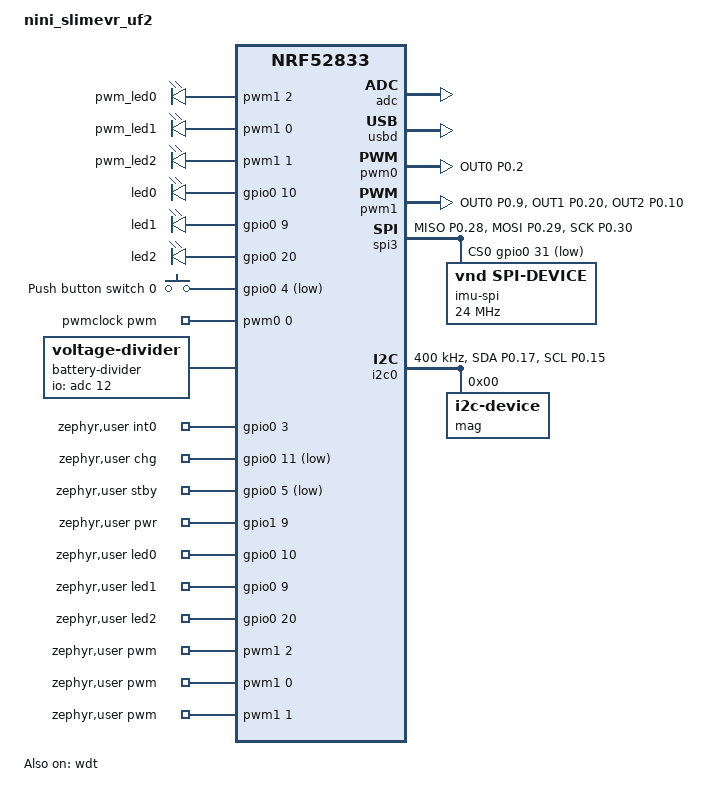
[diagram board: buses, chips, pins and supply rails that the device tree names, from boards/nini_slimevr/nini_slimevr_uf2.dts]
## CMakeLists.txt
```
#
# Copyright (c) 2023 Nordic Semiconductor
#
# SPDX-License-Identifier: LicenseRef-Nordic-5-Clause
#
cmake_minimum_required(VERSION 3.20.0)

# Configure VERSION from repository tags, or a deterministic development fallback.
find_package(Git)

if(GIT_EXECUTABLE)
  execute_process(
    COMMAND ${GIT_EXECUTABLE} branch --show-current
    WORKING_DIRECTORY ${CMAKE_SOURCE_DIR}
    OUTPUT_VARIABLE GIT_BRANCH
    )
  execute_process(
    COMMAND ${GIT_EXECUTABLE} describe --dirty --tags --long --match [0-9]*.[0-9]*.[0-9]*
    WORKING_DIRECTORY ${CMAKE_SOURCE_DIR}
    OUTPUT_VARIABLE GIT_VERSION
    RESULT_VARIABLE GIT_VERSION_RESULT
    OUTPUT_STRIP_TRAILING_WHITESPACE
    ERROR_QUIET
    )
  # Prefer a https URL for display (falls back to ssh/origin.url)
  execute_process(
    COMMAND ${GIT_EXECUTABLE} config --get remote.origin.url
    WORKING_DIRECTORY ${CMAKE_SOURCE_DIR}
    OUTPUT_VARIABLE GIT_REPO_URL_SSH
    )
  execute_process(
    COMMAND ${GIT_EXECUTABLE} config --get remote.origin.https.url
    WORKING_DIRECTORY ${CMAKE_SOURCE_DIR}
    OUTPUT_VARIABLE GIT_REPO_URL_HTTPS
    )
  execute_process(
    COMMAND ${GIT_EXECUTABLE} log -1 --pretty=%an
    WORKING_DIRECTORY ${CMAKE_SOURCE_DIR}
    OUTPUT_VARIABLE GIT_AUTHOR
    )
endif()

if(GIT_BRANCH STREQUAL "")
  set(GIT_BRANCH unknown)
  message(WARNING "Unknown Git Branch")
endif()

# Choose URL: origin.https.url > origin.url
if(NOT GIT_REPO_URL_HTTPS STREQUAL "")
  set(GIT_REPO_URL ${GIT_REPO_URL_HTTPS})
else()
  set(GIT_REPO_URL ${GIT_REPO_URL_SSH})
endif()

# Normalize GitHub SSH URLs to HTTPS for display in firmware info
if(GIT_REPO_URL MATCHES "^git@github\\.com:(.+)$")
  set(GIT_REPO_URL "https://github.com/${CMAKE_MATCH_1}")
elseif(GIT_REPO_URL MATCHES "^ssh://git@github\\.com/(.+)$")
  set(GIT_REPO_URL "https://github.com/${CMAKE_MATCH_1}")
endif()
string(REGEX REPLACE "\\.git$" "" GIT_REPO_URL "${GIT_REPO_URL}")

if(GIT_REPO_URL STREQUAL "")
  set(GIT_REPO_URL unknown)
  message(WARNING "Unknown Git Repo URL")
endif()

if(GIT_AUTHOR STREQUAL "")
  set(GIT_AUTHOR unknown)
  message(WARNING "Unknown Git Author")
endif()

string(STRIP ${GIT_BRANCH} GIT_BRANCH)
string(STRIP ${GIT_REPO_URL} GIT_REPO_URL)
string(STRIP ${GIT_AUTHOR} GIT_AUTHOR)

if(GIT_VERSION_RESULT STREQUAL "0" AND
   GIT_VERSION MATCHES "^([0-9]+)\\.([0-9]+)\\.([0-9]+)-([0-9]+)-g[0-9a-f]+(-dirty)?$")
  set(GIT_MAJOR ${CMAKE_MATCH_1})
  set(GIT_MINOR ${CMAKE_MATCH_2})
  set(GIT_PATCH ${CMAKE_MATCH_3})
  set(GIT_TWEAK ${CMAKE_MATCH_4})
  configure_file(${CMAKE_SOURCE_DIR}/VERSION_SRC ${CMAKE_SOURCE_DIR}/VERSION @ONLY)
else()
  # VERSION is generated; never reuse stale release numbers from another branch.
  # Zephyr supplies commit provenance separately through APP_BUILD_VERSION.
  set(GIT_MAJOR 0)
  set(GIT_MINOR 0)
  set(GIT_PATCH 0)
  set(GIT_TWEAK 0)
  configure_file(${CMAKE_SOURCE_DIR}/VERSION_SRC ${CMAKE_SOURCE_DIR}/VERSION @ONLY)
  message(STATUS "No Git release version available; using development version 0.0.0")
endif()

# Pass metadata to C compilation units
add_compile_definitions(
  FW_GIT_BRANCH="${GIT_BRANCH}"
  FW_GIT_REPO_URL="${GIT_REPO_URL}"
  FW_GIT_AUTHOR="${GIT_AUTHOR}"
)

# Zephyr
find_package(Zephyr REQUIRED HINTS $ENV{ZEPHYR_BASE})
project(NONE)

find_package(Python3 QUIET COMPONENTS Interpreter)

if(NOT Python3_Interpreter_FOUND)
  find_program(PYTHON_EXECUTABLE NAMES python3 python REQUIRED)
  set(Python3_EXECUTABLE ${PYTHON_EXECUTABLE})
endif()

set(SOFTDEVICE_HEX_52840 ${CMAKE_SOURCE_DIR}/softdevice/s140_nrf52_7.3.0_softdevice.hex)
set(UF2_FAMILY_ID_52840 0xADA52840)

if(WITH_SOFTDEVICE)
  if(CONFIG_SOC_NRF52840)
    set(sd_softdevice_hex ${SOFTDEVICE_HEX_52840})
    set(sd_uf2_family_id ${UF2_FAMILY_ID_52840})
  else()
    message(FATAL_ERROR "WITH_SOFTDEVICE is currently only supported on nRF52840 targets")
  endif()

  if(DEFINED sd_softdevice_hex)
    if(NOT EXISTS ${sd_softdevice_hex})
      message(FATAL_ERROR "SoftDevice hex not found: ${sd_softdevice_hex}")
    endif()

    set(sd_merged_hex ${CMAKE_BINARY_DIR}/zephyr/zephyr_sd.hex)
    set(sd_merged_uf2 ${CMAKE_BINARY_DIR}/zephyr/zephyr_sd.uf2)

    add_custom_command(
      OUTPUT ${sd_merged_hex} ${sd_merged_uf2}
      COMMAND ${Python3_EXECUTABLE} ${ZEPHYR_BASE}/scripts/build/mergehex.py --overlap=replace -o ${sd_merged_hex} ${sd_softdevice_hex} ${CMAKE_BINARY_DIR}/zephyr/zephyr.hex
      COMMAND ${Python3_EXECUTABLE} ${ZEPHYR_BASE}/scripts/build/uf2conv.py ${sd_merged_hex} -c -f ${sd_uf2_family_id} -o ${sd_merged_uf2}
      DEPENDS ${sd_softdevice_hex} ${CMAKE_BINARY_DIR}/zephyr/zephyr.hex
      VERBATIM
    )

    add_custom_target(sd_merged_uf2 ALL DEPENDS ${sd_merged_hex} ${sd_merged_uf2})
  endif()
endif()

# NORDIC SDK APP START
FILE(GLOB_RECURSE app_sources src/*.c)
if(NOT CONFIG_CONNECTION_OVER_HID)
  list(FILTER app_sources EXCLUDE REGEX ".*/hid\\.c$")
endif()
if(NOT CONFIG_TDMA_DIAGNOSTICS)
  list(FILTER app_sources EXCLUDE REGEX ".*/radio_capture\\.c$")
endif()
if(NOT CONFIG_LED_DEBUG)
  list(FILTER app_sources EXCLUDE REGEX ".*/led_debug\\.c$")
endif()
if(NOT CONFIG_CUSTOMER_INFO OR NOT CONFIG_SOC_SERIES_NRF52)
  list(FILTER app_sources EXCLUDE REGEX ".*/customer_info(_parser)?\\.c$")
endif()
if(NOT CONFIG_CONNECTION_RAW_COLLECTION)
  list(FILTER app_sources EXCLUDE REGEX ".*/sensor/raw_collection\\.c$")
endif()
if(NOT CONFIG_SENSOR_USE_MAGNETOMETER)
  list(FILTER app_sources EXCLUDE REGEX ".*/sensor/scan_ext\\.c$")
  list(FILTER app_sources EXCLUDE REGEX ".*/sensor/calibration/(online_mag|mag_fit|magneto)\\.c$")
endif()
list(FILTER app_sources EXCLUDE REGEX ".*/sensor/imu/.*\\.c$")
list(FILTER app_sources EXCLUDE REGEX ".*/sensor/mag/.*\\.c$")
target_sources(app PRIVATE ${app_sources})

# IMU drivers
if(CONFIG_SENSOR_DRV_ICM42688)
  target_sources(app PRIVATE src/sensor/imu/ICM42688.c)
endif()
if(CONFIG_SENSOR_DRV_ICM42686)
  target_sources(app PRIVATE src/sensor/imu/ICM42686.c)
endif()
if(CONFIG_SENSOR_DRV_ICM40608)
  target_sources(app PRIVATE src/sensor/imu/ICM40608.c)
endif()
if(CONFIG_SENSOR_DRV_ICM45686)
  target_sources(app PRIVATE src/sensor/imu/ICM45686.c)
endif()
if(CONFIG_SENSOR_DRV_LSM6DSM)
  target_sources(app PRIVATE src/sensor/imu/LSM6DSM.c)
endif()
if(CONFIG_SENSOR_DRV_LSM6DSO)
  target_sources(app PRIVATE src/sensor/imu/LSM6DSO.c)
endif()
# LSM6DSM/DSO vtables call shared helpers defined in LSM6DSV.c (lsm_shutdown,
# lsm_accel_read, …). Compile that TU whenever any LSM6 family DRV is on, even
# if SENSOR_DRV_LSM6DSV=n — keep the Kconfig off so scan/vtable stay trimmed and
# SENSOR_IMU_DRV_COUNT is not inflated.
if(CONFIG_SENSOR_DRV_LSM6DSV OR CONFIG_SENSOR_DRV_LSM6DSM OR CONFIG_SENSOR_DRV_LSM6DSO)
  target_sources(app PRIVATE src/sensor/imu/LSM6DSV.c)
endif()

# Magnetometer drivers
if(CONFIG_SENSOR_USE_MAGNETOMETER)
if(CONFIG_SENSOR_DRV_AK09940)
  target_sources(app PRIVATE src/sensor/mag/AK09940.c)
endif()
if(CONFIG_SENSOR_DRV_BMM150)
  target_sources(app PRIVATE src/sensor/mag/BMM150.c)
endif()
if(CONFIG_SENSOR_DRV_BMM350)
  target_sources(app PRIVATE src/sensor/mag/BMM350.c)
endif()
if(CONFIG_SENSOR_DRV_ICT153XX)
  target_sources(app PRIVATE src/sensor/mag/ICT153xx.c)
endif()
if(CONFIG_SENSOR_DRV_IST8306 OR CONFIG_SENSOR_DRV_IST8308)
  target_sources(app PRIVATE src/sensor/mag/ist83xx.c)
endif()
if(CONFIG_SENSOR_DRV_IST8306)
  target_sources(app PRIVATE src/sensor/mag/IST8306.c)
endif()
if(CONFIG_SENSOR_DRV_IST8308)
  target_sources(app PRIVATE src/sensor/mag/IST8308.c)
endif()
if(CONFIG_SENSOR_DRV_LIS2MDL)
  target_sources(app PRIVATE src/sensor/mag/LIS2MDL.c)
endif()
if(CONFIG_SENSOR_DRV_LIS3MDL)
  target_sources(app PRIVATE src/sensor/mag/LIS3MDL.c)
endif()
if(CONFIG_SENSOR_DRV_MMC5603NJ)
  target_sources(app PRIVATE src/sensor/mag/MMC5603NJ.c)
endif()
if(CONFIG_SENSOR_DRV_MMC5983MA)
  target_sources(app PRIVATE src/sensor/mag/MMC5983MA.c)
endif()
if(CONFIG_SENSOR_DRV_QMC5883L)
  target_sources(app PRIVATE src/sensor/mag/QMC5883L.c)
endif()
if(CONFIG_SENSOR_DRV_QMC5883P)
  target_sources(app PRIVATE src/sensor/mag/QMC5883P.c)
endif()
if(CONFIG_SENSOR_DRV_QMC6309)
  target_sources(app PRIVATE src/sensor/mag/QMC6309.c)
endif()
endif()

set(_slimenrf_imu_drv_count 0)
foreach(_d ICM42688 ICM42686 ICM45686 LSM6DSM LSM6DSO LSM6DSV)
  if(CONFIG_SENSOR_DRV_${_d})
    math(EXPR _slimenrf_imu_drv_count "${_slimenrf_imu_drv_count}+1")
  endif()
endforeach()
if(_slimenrf_imu_drv_count EQUAL 0)
  message(FATAL_ERROR "No IMU SENSOR_DRV_* enabled. Enable at least one, or turn off SENSOR_IMU_DRIVERS_MINIMAL.")
endif()
# NORDIC SDK APP END

FILE(GLOB_RECURSE files vqf-c/src/*.c)
target_sources(app PRIVATE ${files})
set_property(
  SOURCE ${CMAKE_CURRENT_SOURCE_DIR}/vqf-c/src/vqf.c
  APPEND PROPERTY COMPILE_OPTIONS
  -Wno-double-promotion
)
if(CONFIG_SENSOR_VQF_ADAPTIVE_BIAS)
  target_compile_definitions(app PRIVATE VQF_ADAPTIVE_BIAS)
endif()
if(CONFIG_SENSOR_VQF_REST_TRANSITION)
  target_compile_definitions(app PRIVATE VQF_REST_TRANSITION)
endif()
if(CONFIG_SENSOR_VQF_FAST_REST_RECOVERY)
  target_compile_definitions(app PRIVATE VQF_FAST_REST_RECOVERY)
endif()
if(CONFIG_SENSOR_VQF_CYCLE_BIAS_OBSERVATION)
  target_compile_definitions(app PRIVATE VQF_CYCLE_BIAS_OBSERVATION)
endif()
if(CONFIG_SENSOR_VQF_OUTPUT_OBSERVER)
  target_compile_definitions(app PRIVATE VQF_OUTPUT_OBSERVER VQF_OUTPUT_TAU_ACC=3.264f)
endif()

target_include_directories(app PRIVATE src)
target_include_directories(app PRIVATE vqf-c/src)

# Force recompile for updated build timestamp
add_custom_target(touch_util_h ALL
    COMMAND ${CMAKE_COMMAND} -E touch ${CMAKE_SOURCE_DIR}/src/build_defines.h
)
```

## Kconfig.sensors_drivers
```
config SENSOR_IMU_DRIVERS_MINIMAL
	bool "Compile only selected IMU drivers"
	default n
	help
	  When disabled (default), every SENSOR_DRV_* IMU option defaults to y.
	  When enabled, each IMU SENSOR_DRV_* defaults to n; enable the BOM
	  drivers in the board *_defconfig.

config SENSOR_MAG_DRIVERS_MINIMAL
	bool "Compile only selected magnetometer drivers"
	default n
	help
	  Same as SENSOR_IMU_DRIVERS_MINIMAL but for magnetometer drivers.
	  Mag may be entirely disabled (mag-less boards).

menu "IMU drivers"

config SENSOR_DRV_ICM42688
	bool "ICM42688"
	default y if !SENSOR_IMU_DRIVERS_MINIMAL
	default n

config SENSOR_DRV_ICM42686
	bool "ICM42686"
	default y if !SENSOR_IMU_DRIVERS_MINIMAL
	default n

config SENSOR_DRV_ICM40608
	bool "ICM40608"
	default y if !SENSOR_IMU_DRIVERS_MINIMAL
	default n
	help
	  ICM-40608 (DS-000251): ICM-426xx register family but 16-byte FIFO only,
	  +/-16g/+/-2000dps max and no CLKIN. Separate driver, see ICM40608.h.

config SENSOR_DRV_ICM45686
	bool "ICM45686 / ICM45688"
	default y if !SENSOR_IMU_DRIVERS_MINIMAL
	default n

config SENSOR_DRV_LSM6DSM
	bool "LSM6DSM family (DS3 / DSM)"
	default y if !SENSOR_IMU_DRIVERS_MINIMAL
	default n
	help
	  Shares helpers compiled from LSM6DSV.c (CMake pulls that TU in
	  automatically). Enabling this alone does not enable SENSOR_DRV_LSM6DSV
	  scan/vtable slots.

config SENSOR_DRV_LSM6DSO
	bool "LSM6DSO family (DSR / DSO)"
	default y if !SENSOR_IMU_DRIVERS_MINIMAL
	default n
	help
	  Shares helpers compiled from LSM6DSV.c (CMake pulls that TU in
	  automatically). Enabling this alone does not enable SENSOR_DRV_LSM6DSV
	  scan/vtable slots.

config SENSOR_DRV_LSM6DSV
	bool "LSM6DSV family (DSV / ISM330BX)"
	default y if !SENSOR_IMU_DRIVERS_MINIMAL
	default n
	help
	  Also provides shared LSM6 helpers used by LSM6DSM / LSM6DSO drivers.

endmenu

menu "Magnetometer drivers"

config SENSOR_DRV_AK09940
	bool "AK09940"
	default y if !SENSOR_MAG_DRIVERS_MINIMAL
	default n

config SENSOR_DRV_BMM150
	bool "BMM150"
	default y if !SENSOR_MAG_DRIVERS_MINIMAL
	default n

config SENSOR_DRV_BMM350
	bool "BMM350"
	default y if !SENSOR_MAG_DRIVERS_MINIMAL
	default n

config SENSOR_DRV_ICT153XX
	bool "ICT-15312 / ICT-15318"
	default y if !SENSOR_MAG_DRIVERS_MINIMAL
	default n
	help
	  I2C magnetometers, including access through an IMU external I2C proxy.
	  Both require VDD 1.62–1.98 V; ICT-15312 uses 1.2 V bus logic and
	  ICT-15318 uses 1.8 V bus logic.

config SENSOR_DRV_IST8306
	bool "IST8306"
	default y if !SENSOR_MAG_DRIVERS_MINIMAL
	default n

config SENSOR_DRV_IST8308
	bool "IST8308"
	default y if !SENSOR_MAG_DRIVERS_MINIMAL
	default n

config SENSOR_DRV_LIS2MDL
	bool "LIS2MDL / IIS2MDC"
	default y if !SENSOR_MAG_DRIVERS_MINIMAL
	default n

config SENSOR_DRV_LIS3MDL
	bool "LIS3MDL"
	default y if !SENSOR_MAG_DRIVERS_MINIMAL
	default n

config SENSOR_DRV_MMC5603NJ
	bool "MMC5603NJ"
	default y if !SENSOR_MAG_DRIVERS_MINIMAL
	default n

config SENSOR_DRV_MMC5983MA
	bool "MMC5983MA"
	default y if !SENSOR_MAG_DRIVERS_MINIMAL
	default n

config SENSOR_DRV_QMC5883L
	bool "QMC5883L"
	default y if !SENSOR_MAG_DRIVERS_MINIMAL
	default n

config SENSOR_DRV_QMC5883P
	bool "QMC5883P"
	default y if !SENSOR_MAG_DRIVERS_MINIMAL
	default n
	help
	  QMC5883P (QST-PD-B002-22 Rev E): automotive-grade line, new-style QST
	  register interface (akin to QMC6309, NOT register-compatible with
	  QMC5883L). I2C 0x2C, CHIPID 0x80 @ 0x00, 2/8/12/30G ranges, no temp.

config SENSOR_DRV_QMC6309
	bool "QMC6309"
	default y if !SENSOR_MAG_DRIVERS_MINIMAL
	default n

endmenu
```

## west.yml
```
manifest:
  version: "1.2"
  projects:

    # nRF-Connect SDK
    - name: sdk-nrf
      path: nrf
      url: https://github.com/jitingcn/sdk-nrf.git
      revision: ab62f8dfea4f8e8a9eacde53b2b763bd9854e743
      import: true
```

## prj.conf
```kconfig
#CONFIG_NCS_SAMPLES_DEFAULTS
CONFIG_ASSERT=y
CONFIG_ASSERT_NO_COND_INFO=y
CONFIG_ASSERT_NO_MSG_INFO=y
CONFIG_RESET_ON_FATAL_ERROR=y

CONFIG_NCS_APPLICATION_BOOT_BANNER_STRING="SlimeVR-Tracker-nRF"
#CONFIG_NCS_BOOT_BANNER=n
CONFIG_BOOT_BANNER=n

# HEX carries mapped-partition addresses for native UF2 generation.
CONFIG_BUILD_OUTPUT_HEX=y

CONFIG_LTO=y
CONFIG_ISR_TABLES_LOCAL_DECLARATION=y

CONFIG_ESB=y

CONFIG_ENTROPY_GENERATOR=y
CONFIG_HARDWARE_DEVICE_CS_GENERATOR=y
#need to enable for nRF54L
#CONFIG_NRFX_DPPI10=y

CONFIG_ADC=y
CONFIG_ADC_NRFX_SAADC=y
# battery.c owns ADC/GPIO setup; voltage-divider DT nodes supply board metadata.
CONFIG_VOLTAGE_DIVIDER=n
CONFIG_FPU=y

# CMSIS-DSP Configuration for VQF optimization
CONFIG_CMSIS_DSP=y
CONFIG_CMSIS_DSP_FASTMATH=y
CONFIG_CMSIS_DSP_BASICMATH=y
CONFIG_CMSIS_DSP_MATRIX=y
CONFIG_CMSIS_DSP_QUATERNIONMATH=y
CONFIG_CMSIS_DSP_SUPPORT=y
CONFIG_CMSIS_DSP_CONTROLLER=y
CONFIG_DSP=y

CONFIG_I2C=y
CONFIG_SPI=y
CONFIG_PINCTRL=y

CONFIG_NVS=y
CONFIG_NVS_LOOKUP_CACHE=y
CONFIG_NVS_INIT_BAD_MEMORY_REGION=y

CONFIG_POWEROFF=y
CONFIG_REBOOT=y

CONFIG_FLASH=y
CONFIG_FLASH_PAGE_LAYOUT=y
CONFIG_FLASH_MAP=y
CONFIG_USE_DT_CODE_PARTITION=y

CONFIG_SETTINGS=y
CONFIG_SETTINGS_RUNTIME=y
CONFIG_SETTINGS_NONE=y

CONFIG_MPU_ALLOW_FLASH_WRITE=y

CONFIG_RETAINED_MEM=y

CONFIG_USE_SEGGER_RTT=y
CONFIG_LOG=y
#CONFIG_PRINTK=y
CONFIG_LOG_MODE_DEFERRED=y
CONFIG_LOG_SPEED=y
CONFIG_LOG_BACKEND_RTT=y
CONFIG_CBPRINTF_FP_SUPPORT=y
CONFIG_ADC_LOG_LEVEL_OFF=y
CONFIG_LOG_FUNC_NAME_PREFIX_ERR=y
# Absorb multi-line sensor debug bursts without changing their output cadence.
CONFIG_LOG_BUFFER_SIZE=8192
CONFIG_LOG_BACKEND_UART_AUTOSTART=n
CONFIG_LOG_PROCESS_THREAD_SLEEP_MS=25
CONFIG_LOG_PROCESS_THREAD_STACK_SIZE=1024

CONFIG_PWM=y
CONFIG_GPIO=y

CONFIG_CRC=y

# Sensor lifecycle waits (suspend / scan) use k_event instead of busy spins
CONFIG_EVENTS=y

CONFIG_PICOLIBC=y
# CONFIG_NRFX_TIMER1=y

#speed up boot? (use internal rc oscillator)
CONFIG_CLOCK_CONTROL_NRF_K32SRC_RC=y
CONFIG_CLOCK_CONTROL_NRF_K32SRC_20PPM=y

# dont need it
CONFIG_CRYPTO=n

# set timeout for 25ms, sufficient for ~1000 bytes
CONFIG_I2C_NRFX_TRANSFER_TIMEOUT=25

CONFIG_USB_DEVICE_STACK_NEXT=y
CONFIG_USBD_CDC_ACM_CLASS=y
CONFIG_CDC_ACM_SERIAL_INITIALIZE_AT_BOOT=n
CONFIG_SLIMEVR_USB_DEVICE_VID=0x1209
CONFIG_SLIMEVR_USB_DEVICE_PID=0x7692
CONFIG_UART_INTERRUPT_DRIVEN=y

CONFIG_SERIAL=y
CONFIG_CONSOLE=y
CONFIG_RTT_CONSOLE=y
CONFIG_UART_CONSOLE=y
CONFIG_UART_LINE_CTRL=y

CONFIG_LOG=y

CONFIG_LOG_BACKEND_UART=y

CONFIG_CONSOLE_SUBSYS=y

CONFIG_NVS_LOG_LEVEL_WRN=y

CONFIG_SYSTEM_WORKQUEUE_STACK_SIZE=1024
CONFIG_MAIN_STACK_SIZE=2048

CONFIG_THREAD_NAME=y

CONFIG_HEAP_MEM_POOL_SIZE=4096
CONFIG_ISR_STACK_SIZE=2048

CONFIG_PM_DEVICE=y


CONFIG_USE_ACTIVE_TIMEOUT=y

# 100ms switch delay will be obvious to users, so we choose not to use it by default,
# but it can be enabled for testing or specific use cases
CONFIG_SENSOR_USE_LOW_POWER_2=n

# control low power mode
# due to current mag reading is process in sensor loop,
# low power mode will cause mag reading isn't at target odr,
# so currently it should be disabled by default
CONFIG_USE_IMU_TIMEOUT=n
# a very large low power timeout (1h) to prevent it from triggering
CONFIG_SENSOR_LP_TIMEOUT=3600000

# 10 minutes timeout with wake on motion
CONFIG_ACTIVE_TIMEOUT_DELAY=600000

# dynamic low-activity sleep timeout is 90 seconds, repeat wake timeout is 90 seconds by default
CONFIG_ACTIVE_TIMEOUT_IDLE_WAKE_DELAY=90000
CONFIG_DYNAMIC_ACTIVE_TIMEOUT=y
CONFIG_USE_IMU_WAKE_UP=y

# or 6 hours timeout
# CONFIG_USE_IMU_WAKE_UP=n
# CONFIG_ACTIVE_TIMEOUT_DELAY=21600000

CONFIG_USER_EXTRA_ACTIONS=y
CONFIG_DISABLE_SENSOR_GPIOS_ON_SHUTDOWN=y

CONFIG_ESB_MAX_PAYLOAD_LENGTH=72
CONFIG_ESB_TX_FIFO_SIZE=8
CONFIG_ESB_RX_FIFO_SIZE=8
CONFIG_RADIO_RF_CHANNEL=84
CONFIG_RADIO_RETRANSMIT_DELAY=310
CONFIG_CONNECTION_ENABLE_ACK=n
CONFIG_RADIO_TX_POWER=8
# 3 minutes timeout after ping continuous failed
CONFIG_CONNECTION_TIMEOUT_DELAY=180000

CONFIG_SENSOR_USE_6_SIDE_CALIBRATION=y
CONFIG_SENSOR_USE_SENS_CALIBRATION=y
CONFIG_SENSOR_SENS_REV=5

CONFIG_SENSOR_USE_TCAL=y

# Boot calibration is disabled by default
# CONFIG_SENSOR_USE_BOOT_CALIBRATION=y

# Range statistics tracking (disabled by default to optimize performance)
# CONFIG_SENSOR_RANGE_STATS=y

# Gyro/accel ODR. Gyro OVERSAMPLING = Δq INT_merge factor.
# Example: GYRO_ODR=1600 + GYRO_OVERSAMPLING=4 → 400 Hz fusion gyro steps.
# icm45 ~1600, dsv ~1920
CONFIG_SENSOR_GYRO_ODR=400
# fusion rate at ~400Hz
CONFIG_SENSOR_GYRO_OVERSAMPLING=1
CONFIG_SENSOR_MAG_ODR=100

# VQF experimental features
# CONFIG_VQF_ADAPTIVE_TAU_ACC=y

# Watchdog Configuration
CONFIG_WATCHDOG=y
CONFIG_WDT_NRFX=y
CONFIG_TASK_WDT=y
CONFIG_TASK_WDT_CHANNELS=9
CONFIG_TASK_WDT_HW_FALLBACK=y
CONFIG_TASK_WDT_HW_FALLBACK_DELAY=5000

# enable tdma on board which don't have lfxo, it can use lf clock synthesized by hf clock,
# but it will increase a lot of power consumption, so if you want to use it, you can enable below config,
# or define it in board level Kconfig file.

# CONFIG_CLOCK_USE_LFXO=n
CONFIG_CONNECTION_TDMA=y

# Enable VQF benchmark mode for performance testing (disabled by default)
# CONFIG_VQF_BENCH=y
```

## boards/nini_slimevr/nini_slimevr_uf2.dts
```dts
// Copyright (c) 2024 Nordic Semiconductor ASA
// SPDX-License-Identifier: Apache-2.0

// 板级设备树：nini_slimevr_uf2 ——【追踪器 tracker】（nRF52833 QDAA）
// 由我们注入的 nini 板级文件（上游 jitingcn 仓不含）。
// 与旧板 nini_slimevr_mag_uf2 的硬件差异：
//   ① 三颗 LED 改为【共阴】接法（高电平点亮），新增红灯：
//      红 P0.10 / 绿 P0.09 / 蓝 P0.20（上板实测订正史：初版红绿写反→换 LED 红蓝对调→再换 LED 红绿对调），全部 GPIO_ACTIVE_HIGH、PWM_POLARITY_NORMAL，
//      不再用 GPIO_OPEN_DRAIN 与 nordic,invert；
//   ② P0.18 接 nRF 的 nRESET（UICR gpio-as-nreset），不再是普通 GPIO/按键；
//   ③ 板载 32.768kHz 晶振（LFXO 走应用 Kconfig CLOCK_USE_LFXO，默认开，无需 dts 配置）；
//   ④ 磁力计为 QMC5883P（I2C 0x2C，驱动另行注入），dts 侧仍为通用 i2c-device 占位。
// 其余引脚（SW0/INT/CHG/STDBY/PWR/SPI3/I2C0/IMUCLK）与旧板一致。

/dts-v1/;
#include <nordic/nrf52833_qdaa.dtsi>
#include <zephyr/dt-bindings/gpio/gpio.h>
#include <zephyr/dt-bindings/gpio/nordic-nrf-gpio.h>
#include <zephyr/dt-bindings/pinctrl/nrf-pinctrl.h>


&pinctrl {
	spi3_default: spi3_default {
		group1 {
			psels = <NRF_PSEL(SPIM_MISO, 0, 28)>,
					<NRF_PSEL(SPIM_MOSI, 0, 29)>,
					<NRF_PSEL(SPIM_SCK, 0, 30)>;
		};
	};

	spi3_sleep: spi3_sleep {
		group1 {
			psels = <NRF_PSEL(SPIM_MISO, 0, 28)>,
					<NRF_PSEL(SPIM_MOSI, 0, 29)>,
					<NRF_PSEL(SPIM_SCK, 0, 30)>;
			low-power-enable;
		};
	};

	i2c0_default: i2c0_default {
		group1 {
			psels = <NRF_PSEL(TWIM_SDA, 0, 17)>,
					<NRF_PSEL(TWIM_SCL, 0, 15)>;
			bias-disable;
		};
	};

	i2c0_sleep: i2c0_sleep {
		group1 {
			psels = <NRF_PSEL(TWIM_SDA, 0, 17)>,
					<NRF_PSEL(TWIM_SCL, 0, 15)>;
			bias-disable;
			low-power-enable;
		};
	};

	/* IMUCLK：P0.02 输出 32768Hz（pwmclock 节点，PWM0 ch0）。默认关闭，
	 * 由固件 pwmclock 门控按需开启（详见计划书 §7.4）。 */
	pwm0_default: pwm0_default {
		group1 {
			psels = <NRF_PSEL(PWM_OUT0, 0, 2)>;
			nordic,drive-mode = <NRF_DRIVE_D0S1>;
		};
	};

	pwm0_sleep: pwm0_sleep {
		group1 {
			psels = <NRF_PIN_DISCONNECTED>;
			low-power-enable;
		};
	};

	/* 三色 LED（共阴，高电平点亮）：红 P0.10(ch2) / 蓝 P0.20(ch1) / 绿 P0.09(ch0)。
	 * 共阴接法：输出高电平点亮 → 不用 nordic,invert；点亮电平用高驱动 S0H1。 */
	pwm1_default: pwm1_default {
		group1 {
			psels = <NRF_PSEL(PWM_OUT0, 0, 9)>,
					<NRF_PSEL(PWM_OUT1, 0, 20)>,
					<NRF_PSEL(PWM_OUT2, 0, 10)>;
			nordic,drive-mode = <NRF_DRIVE_S0H1>;
		};
	};

	pwm1_sleep: pwm1_sleep {
		group1 {
			psels = <NRF_PSEL(PWM_OUT0, 0, 9)>,
					<NRF_PSEL(PWM_OUT1, 0, 20)>,
					<NRF_PSEL(PWM_OUT2, 0, 10)>;
			low-power-enable;
		};
	};
};


/ {
	model = "nini_slimevr_uf2";
	compatible = "nini_slimevr_uf2";

	chosen {
		zephyr,sram = &sram0;
		zephyr,flash = &flash0;
		zephyr,console = &cdc_acm_uart0;
		zephyr,shell-uart = &cdc_acm_uart0;
	};

	pwmleds {
		compatible = "pwm-leds";
		/* 色序对齐 led.c 三色约定：pwm-led0=红 / pwm-led1=绿 / pwm-led2=蓝。
		 * 共阴高电平点亮 → PWM_POLARITY_NORMAL（旧板为 INVERTED）。 */
		pwm_led0: pwm_led_0 {
			pwms = <&pwm1 2 PWM_MSEC(1) PWM_POLARITY_NORMAL>; /* 红灯=P0.10（实测订正：换 LED 后红绿对调）*/
		};
		pwm_led1: pwm_led_1 {
			pwms = <&pwm1 0 PWM_MSEC(1) PWM_POLARITY_NORMAL>; /* 绿灯=P0.09（实测订正）*/
		};
		pwm_led2: pwm_led_2 {
			pwms = <&pwm1 1 PWM_MSEC(1) PWM_POLARITY_NORMAL>; /* 蓝灯=P0.20（实测订正）*/
		};
	};

	leds {
		compatible = "gpio-leds";
		/* 色序：led0=红 P0.10 / led1=绿 P0.09 / led2=蓝 P0.20（led.h 三色约定）。
		 * 共阴接法：GPIO_ACTIVE_HIGH、不用 GPIO_OPEN_DRAIN（旧板共阳为
		 * ACTIVE_LOW|OPEN_DRAIN）。 */
		led0: led_0 {
			gpios = <&gpio0 10 GPIO_ACTIVE_HIGH>; /* 红（实测订正：换 LED 后红绿对调）*/
		};
		led1: led_1 {
			gpios = <&gpio0 9 GPIO_ACTIVE_HIGH>; /* 绿（实测订正）*/
		};
		led2: led_2 {
			gpios = <&gpio0 20 GPIO_ACTIVE_HIGH>; /* 蓝（实测订正）*/
		};
	};

	buttons {
		compatible = "gpio-keys";
		button0: button_0 {
			gpios = <&gpio0 4 (GPIO_PULL_UP | GPIO_ACTIVE_LOW)>;
			label = "Push button switch 0";
		};
	};

	aliases {
		sw0 = &button0;
		led0 = &led0;
		led1 = &led1;
		led2 = &led2;
		pwm-led0 = &pwm_led0;
		pwm-led1 = &pwm_led1;
		pwm-led2 = &pwm_led2;
		watchdog0 = &wdt;
	};

	pwmclock: pwmclock {
		compatible = "pwm-clock";
		#clock-cells = <1>;
		pwms = <&pwm0 0 PWM_HZ(32768) PWM_POLARITY_NORMAL>;
	};

	battery-divider {
		compatible = "voltage-divider";
		status = "okay";
		io-channels = <&adc 12>; /* Measure VDDHDIV5 */
		output-ohms = <1>;
		full-ohms = <5>;
	};

	zephyr,user {
		int0-gpios = <&gpio0 3 0>;
		chg-gpios = <&gpio0 11 (GPIO_ACTIVE_LOW | GPIO_PULL_UP)>;
		stby-gpios = <&gpio0 5 (GPIO_ACTIVE_LOW | GPIO_PULL_UP)>;
		/* LDO-EN：P1.09，高电平开（关机由 power.c 拉低断电）。
		 * ⚠️ 只允许写 pwr-gpios——绝不能写成 ldo-gpios（那是 nRF 稳压器档位，
		 * sys_system_off 会把它拉高，方向正好相反）。 */
		pwr-gpios = <&gpio1 9 (GPIO_ACTIVE_HIGH | NRF_GPIO_DRIVE_H0H1)>;
		/* 上游 LED 所有权/令牌框架的描述符：三通道 PWM（红=pwm1 ch2、绿=ch0、蓝=ch1）。
		 * 传输方式必须显式唯一；此处用 pwms，且条目数必须等于通道数（led_hw.c 断言）。 */
		led-capability = "tri-discrete";
		pwms = <&pwm1 2 PWM_MSEC(1) PWM_POLARITY_NORMAL>,
		       <&pwm1 0 PWM_MSEC(1) PWM_POLARITY_NORMAL>,
		       <&pwm1 1 PWM_MSEC(1) PWM_POLARITY_NORMAL>;
		led-channel-colors = <1 2 3>; /* 红、绿、蓝 */
		led-channel-weights = <10000 10000 10000>;
		led-primary-channel = <1>; /* 绿色为主通道 */
		led0-gpios = <&gpio0 10 GPIO_ACTIVE_HIGH>;
		led1-gpios = <&gpio0 9 GPIO_ACTIVE_HIGH>;
		led2-gpios = <&gpio0 20 GPIO_ACTIVE_HIGH>;
		/* clk-gpios = <&gpio0 2 GPIO_OPEN_DRAIN>; */
	};
};

&reg1 {
	regulator-initial-mode = <NRF5X_REG_MODE_DCDC>;
};

&adc {
	status = "okay";
};

&gpiote {
	status = "okay";
};

&gpio0 {
    status = "okay";
};

&gpio1 {
    status = "okay";
};

zephyr_udc0: &usbd {
	compatible = "nordic,nrf-usbd";
	status = "okay";
	cdc_acm_uart0: cdc_acm_uart0 {
		compatible = "zephyr,cdc-acm-uart";
	};
};

&nfct {
	status = "disabled";
};

&uicr {
	nfct-pins-as-gpios;
	/* P0.18 接 nRESET（板上硬件复位键/测试点），让出 GPIO 功能。
	 * DFU 双击进 bootloader 用 SW0（P0.04），见固件侧配置。 */
	gpio-as-nreset;
};

&wdt {
	status = "okay";
};

&pwm0 {
	status = "okay";
	pinctrl-0 = <&pwm0_default>;
	pinctrl-1 = <&pwm0_sleep>;
	pinctrl-names = "default", "sleep";
};

&pwm1 {
	status = "okay";
	pinctrl-0 = <&pwm1_default>;
	pinctrl-1 = <&pwm1_sleep>;
	pinctrl-names = "default", "sleep";
};

&spi3 {
	status = "okay";
	compatible = "nordic,nrf-spim";
	pinctrl-0 = <&spi3_default>;
	pinctrl-1 = <&spi3_sleep>;
	pinctrl-names = "default", "sleep";
	max-frequency = <DT_FREQ_M(24)>;
	cs-gpios = <&gpio0 31 GPIO_ACTIVE_LOW>;

	imu_spi: imu_spi@0 {
		compatible = "vnd,spi-device";
		spi-max-frequency = <DT_FREQ_M(24)>;
		label = "imu-spi";
		reg = <0>;
	};
};

&i2c0 {
	compatible = "nordic,nrf-twim";
	status = "okay";
	zephyr,concat-buf-size = <1023>;
	zephyr,flash-buf-max-size = <1023>;
	clock-frequency = <I2C_BITRATE_FAST>;
	pinctrl-0 = <&i2c0_default>;
	pinctrl-1 = <&i2c0_sleep>;
	pinctrl-names = "default", "sleep";

	mag: mag@0 {
		compatible = "i2c-device";
		label = "mag";
		reg = <0>;
	};
};
```

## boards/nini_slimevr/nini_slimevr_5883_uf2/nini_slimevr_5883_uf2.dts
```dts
// Copyright (c) 2024 Nordic Semiconductor ASA
// SPDX-License-Identifier: Apache-2.0

// 板级设备树：nini_slimevr_5883_uf2 ——【追踪器 tracker】（nRF52833 QDAA）
// 由我们注入的 nini 板级文件（上游 jitingcn 仓不含）。
// 与旧板 nini_slimevr_mag_uf2 的硬件差异：
//   ① 三颗 LED 改为【共阴】接法（高电平点亮），新增红灯：
//      红 P0.10 / 绿 P0.20 / 蓝 P0.09，全部 GPIO_ACTIVE_HIGH、PWM_POLARITY_NORMAL，
//      不再用 GPIO_OPEN_DRAIN 与 nordic,invert；
//   ② P0.18 接 nRF 的 nRESET（UICR gpio-as-nreset），不再是普通 GPIO/按键；
//   ③ 板载 32.768kHz 晶振（LFXO 走应用 Kconfig CLOCK_USE_LFXO，默认开，无需 dts 配置）；
//   ④ 磁力计为 QMC5883P（I2C 0x2C，驱动另行注入），dts 侧仍为通用 i2c-device 占位。
// 其余引脚（SW0/INT/CHG/STDBY/PWR/SPI3/I2C0/IMUCLK）与旧板一致。

/dts-v1/;
#include <nordic/nrf52833_qdaa.dtsi>
#include <zephyr/dt-bindings/gpio/gpio.h>
#include <zephyr/dt-bindings/gpio/nordic-nrf-gpio.h>
#include <zephyr/dt-bindings/pinctrl/nrf-pinctrl.h>


&pinctrl {
	spi3_default: spi3_default {
		group1 {
			psels = <NRF_PSEL(SPIM_MISO, 0, 28)>,
					<NRF_PSEL(SPIM_MOSI, 0, 29)>,
					<NRF_PSEL(SPIM_SCK, 0, 30)>;
		};
	};

	spi3_sleep: spi3_sleep {
		group1 {
			psels = <NRF_PSEL(SPIM_MISO, 0, 28)>,
					<NRF_PSEL(SPIM_MOSI, 0, 29)>,
					<NRF_PSEL(SPIM_SCK, 0, 30)>;
			low-power-enable;
		};
	};

	i2c0_default: i2c0_default {
		group1 {
			psels = <NRF_PSEL(TWIM_SDA, 0, 17)>,
					<NRF_PSEL(TWIM_SCL, 0, 15)>;
			bias-disable;
		};
	};

	i2c0_sleep: i2c0_sleep {
		group1 {
			psels = <NRF_PSEL(TWIM_SDA, 0, 17)>,
					<NRF_PSEL(TWIM_SCL, 0, 15)>;
			bias-disable;
			low-power-enable;
		};
	};

	/* IMUCLK：P0.02 输出 32768Hz（pwmclock 节点，PWM0 ch0）。默认关闭，
	 * 由固件 pwmclock 门控按需开启（详见计划书 §7.4）。 */
	pwm0_default: pwm0_default {
		group1 {
			psels = <NRF_PSEL(PWM_OUT0, 0, 2)>;
			nordic,drive-mode = <NRF_DRIVE_D0S1>;
		};
	};

	pwm0_sleep: pwm0_sleep {
		group1 {
			psels = <NRF_PIN_DISCONNECTED>;
			low-power-enable;
		};
	};

	/* 三色 LED（共阴，高电平点亮）：蓝 P0.09(ch0) / 绿 P0.20(ch1) / 红 P0.10(ch2)。
	 * 共阴接法：输出高电平点亮 → 不用 nordic,invert；点亮电平用高驱动 S0H1。 */
	pwm1_default: pwm1_default {
		group1 {
			psels = <NRF_PSEL(PWM_OUT0, 0, 9)>,
					<NRF_PSEL(PWM_OUT1, 0, 20)>,
					<NRF_PSEL(PWM_OUT2, 0, 10)>;
			nordic,drive-mode = <NRF_DRIVE_S0H1>;
		};
	};

	pwm1_sleep: pwm1_sleep {
		group1 {
			psels = <NRF_PSEL(PWM_OUT0, 0, 9)>,
					<NRF_PSEL(PWM_OUT1, 0, 20)>,
					<NRF_PSEL(PWM_OUT2, 0, 10)>;
			low-power-enable;
		};
	};
};


/ {
	model = "nini_slimevr_5883_uf2";
	compatible = "nini_slimevr_5883_uf2";

	chosen {
		zephyr,sram = &sram0;
		zephyr,flash = &flash0;
		zephyr,console = &cdc_acm_uart0;
		zephyr,shell-uart = &cdc_acm_uart0;
	};

	pwmleds {
		compatible = "pwm-leds";
		/* 色序对齐 led.c 三色约定：pwm-led0=红 / pwm-led1=绿 / pwm-led2=蓝。
		 * 共阴高电平点亮 → PWM_POLARITY_NORMAL（旧板为 INVERTED）。 */
		pwm_led0: pwm_led_0 {
			pwms = <&pwm1 2 PWM_MSEC(1) PWM_POLARITY_NORMAL>;
		};
		pwm_led1: pwm_led_1 {
			pwms = <&pwm1 1 PWM_MSEC(1) PWM_POLARITY_NORMAL>;
		};
		pwm_led2: pwm_led_2 {
			pwms = <&pwm1 0 PWM_MSEC(1) PWM_POLARITY_NORMAL>;
		};
	};

	leds {
		compatible = "gpio-leds";
		/* 色序：led0=红 P0.10 / led1=绿 P0.20 / led2=蓝 P0.09（led.h 三色约定）。
		 * 共阴接法：GPIO_ACTIVE_HIGH、不用 GPIO_OPEN_DRAIN（旧板共阳为
		 * ACTIVE_LOW|OPEN_DRAIN）。 */
		led0: led_0 {
			gpios = <&gpio0 10 GPIO_ACTIVE_HIGH>;
		};
		led1: led_1 {
			gpios = <&gpio0 20 GPIO_ACTIVE_HIGH>;
		};
		led2: led_2 {
			gpios = <&gpio0 9 GPIO_ACTIVE_HIGH>;
		};
	};

	buttons {
		compatible = "gpio-keys";
		button0: button_0 {
			gpios = <&gpio0 4 (GPIO_PULL_UP | GPIO_ACTIVE_LOW)>;
			label = "Push button switch 0";
		};
	};

	aliases {
		sw0 = &button0;
		led0 = &led0;
		led1 = &led1;
		led2 = &led2;
		pwm-led0 = &pwm_led0;
		pwm-led1 = &pwm_led1;
		pwm-led2 = &pwm_led2;
		watchdog0 = &wdt;
	};

	pwmclock: pwmclock {
		compatible = "pwm-clock";
		#clock-cells = <1>;
		pwms = <&pwm0 0 PWM_HZ(32768) PWM_POLARITY_NORMAL>;
	};

	battery-divider {
		compatible = "voltage-divider";
		status = "okay";
		io-channels = <&adc 12>; /* Measure VDDHDIV5 */
		output-ohms = <1>;
		full-ohms = <5>;
	};

	zephyr,user {
		int0-gpios = <&gpio0 3 0>;
		chg-gpios = <&gpio0 11 (GPIO_ACTIVE_LOW | GPIO_PULL_UP)>;
		stby-gpios = <&gpio0 5 (GPIO_ACTIVE_LOW | GPIO_PULL_UP)>;
		/* LDO-EN：P1.09，高电平开（关机由 power.c 拉低断电）。
		 * ⚠️ 只允许写 pwr-gpios——绝不能写成 ldo-gpios（那是 nRF 稳压器档位，
		 * sys_system_off 会把它拉高，方向正好相反）。 */
		pwr-gpios = <&gpio1 9 (GPIO_ACTIVE_HIGH | NRF_GPIO_DRIVE_H0H1)>;
		led0-gpios = <&gpio0 10 GPIO_ACTIVE_HIGH>;
		led1-gpios = <&gpio0 20 GPIO_ACTIVE_HIGH>;
		led2-gpios = <&gpio0 9 GPIO_ACTIVE_HIGH>;
		/* clk-gpios = <&gpio0 2 GPIO_OPEN_DRAIN>; */
	};
};

&reg1 {
	regulator-initial-mode = <NRF5X_REG_MODE_DCDC>;
};

&adc {
	status = "okay";
};

&gpiote {
	status = "okay";
};

&gpio0 {
    status = "okay";
};

&gpio1 {
    status = "okay";
};

zephyr_udc0: &usbd {
	compatible = "nordic,nrf-usbd";
	status = "okay";
	cdc_acm_uart0: cdc_acm_uart0 {
		compatible = "zephyr,cdc-acm-uart";
	};
};

&nfct {
	status = "disabled";
};

&uicr {
	nfct-pins-as-gpios;
	/* P0.18 接 nRESET（板上硬件复位键/测试点），让出 GPIO 功能。
	 * DFU 双击进 bootloader 用 SW0（P0.04），见固件侧配置。 */
	gpio-as-nreset;
};

&wdt {
	status = "okay";
};

&pwm0 {
	status = "okay";
	pinctrl-0 = <&pwm0_default>;
	pinctrl-1 = <&pwm0_sleep>;
	pinctrl-names = "default", "sleep";
};

&pwm1 {
	status = "okay";
	pinctrl-0 = <&pwm1_default>;
	pinctrl-1 = <&pwm1_sleep>;
	pinctrl-names = "default", "sleep";
};

&spi3 {
	status = "okay";
	compatible = "nordic,nrf-spim";
	pinctrl-0 = <&spi3_default>;
	pinctrl-1 = <&spi3_sleep>;
	pinctrl-names = "default", "sleep";
	max-frequency = <DT_FREQ_M(24)>;
	cs-gpios = <&gpio0 31 GPIO_ACTIVE_LOW>;

	imu_spi: imu_spi@0 {
		compatible = "vnd,spi-device";
		spi-max-frequency = <DT_FREQ_M(24)>;
		label = "imu-spi";
		reg = <0>;
	};
};

&i2c0 {
	compatible = "nordic,nrf-twim";
	status = "okay";
	zephyr,concat-buf-size = <1023>;
	zephyr,flash-buf-max-size = <1023>;
	clock-frequency = <I2C_BITRATE_FAST>;
	pinctrl-0 = <&i2c0_default>;
	pinctrl-1 = <&i2c0_sleep>;
	pinctrl-names = "default", "sleep";

	mag: mag@0 {
		compatible = "i2c-device";
		label = "mag";
		reg = <0>;
	};
};
```

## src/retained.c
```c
/*
 * Copyright (c) 2021 Nordic Semiconductor ASA
 *
 * SPDX-License-Identifier: Apache-2.0
 */

#include "retained.h"

#include <stdint.h>
#include <string.h>

#include <zephyr/kernel.h>
#include <zephyr/devicetree.h>
#include <zephyr/drivers/retained_mem.h>
#include <zephyr/sys/byteorder.h>
#include <zephyr/sys/crc.h>

#include "build_defines.h"

#if DT_NODE_HAS_STATUS_OKAY(DT_ALIAS(retainedmemdevice))
#define MEMORY_REGION DT_PARENT(DT_ALIAS(retainedmemdevice))
#else
#error "retained_mem region not defined"
#endif

struct retained_data *const retained = (struct retained_data *)DT_REG_ADDR(MEMORY_REGION);

#define RETAINED_CRC_OFFSET offsetof(struct retained_data, crc)
#define RETAINED_CHECKED_SIZE (RETAINED_CRC_OFFSET + sizeof(retained->crc))

static uint64_t init_time;
static K_MUTEX_DEFINE(retained_lock);

static void retained_defaults(uint64_t now)
{
	memset(retained, 0, sizeof(*retained));
	retained->build_timestamp = BUILD_TIMESTAMP;
	retained->gyroSensScale[0] = 1.0f;
	retained->gyroSensScale[1] = 1.0f;
	retained->gyroSensScale[2] = 1.0f;
	retained->max_battery_pptt = -1;
	retained->min_battery_pptt = -1;
	retained->battery_pptt_saved = -1;
#if CONFIG_SENSOR_USE_TCAL
	#ifdef CONFIG_SENSOR_USE_BOOT_CALIBRATION
	retained->bootCalState.enabled = true;
	#endif
	retained->tcal_enabled = true;
#endif
	retained->watchdog_state.magic = WATCHDOG_STATE_MAGIC;
	retained->error_reboot.magic = ERROR_REBOOT_STATE_MAGIC;
	retained->rf_channel = 0xFF;
	retained->uptime_latest = now;
	retained->battery_uptime_latest = now;
}

void retained_reset(void)
{
	k_mutex_lock(&retained_lock, K_FOREVER);
	retained_defaults(k_uptime_ticks());
	k_mutex_unlock(&retained_lock);
}

static int retained_init(void)
{
	init_time = k_uptime_ticks(); // Get current uptime in ticks as soon as possible
	return 0;
}

// TODO: priority?
SYS_INIT(retained_init, APPLICATION, CONFIG_APPLICATION_INIT_PRIORITY);

bool retained_validate(void)
{
	NRF_STATIC_ASSERT((RETAINED_CHECKED_SIZE <= 3072), "Retained data size exceeds 3 KB limit");

	uint64_t now = init_time;
//	uint64_t now = k_uptime_ticks(); // Get current uptime in ticks as soon as possible

	/* The residue of a CRC is what you get from the CRC over the
	 * message catenated with its CRC.  This is the post-final-xor
	 * residue for CRC-32 (CRC-32/ISO-HDLC) which Zephyr calls
	 * crc32_ieee.
	 */
	const uint32_t residue = 0x2144df1c;
	uint32_t crc = crc32_ieee((const uint8_t *)retained,
				  RETAINED_CHECKED_SIZE);
	bool valid = (crc == residue);

	/* Check the build timestamp of the firmware that last updated
	 * the retained data.
	 */
	valid &= (retained->build_timestamp == BUILD_TIMESTAMP);

	/* If the CRC isn't valid or the build timestamp is different
	 * from the current build timestamp, reset the retained data.
	 */
	if (!valid) {
		retained_defaults(now);
	}

	/* Reset to accrue runtime from this session. */
	retained->uptime_latest = now;
	retained->battery_uptime_latest = now;

	return valid;
}

void retained_update(void)
{
	k_mutex_lock(&retained_lock, K_FOREVER);

	uint64_t now = k_uptime_ticks();

	retained->uptime_sum += (now - retained->uptime_latest);
	retained->uptime_latest = now;

	uint32_t crc = crc32_ieee((const uint8_t *)retained,
				  RETAINED_CRC_OFFSET);

	retained->crc = sys_cpu_to_le32(crc);

	k_mutex_unlock(&retained_lock);
}
```

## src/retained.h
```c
/*
 * Copyright (c) 2021 Nordic Semiconductor ASA
 *
 * SPDX-License-Identifier: Apache-2.0
 */

#ifndef RETAINED_H_
#define RETAINED_H_

#include <stdbool.h>
#include <stddef.h>
#include <stdint.h>

#if CONFIG_SENSOR_USE_TCAL
_Static_assert(CONFIG_SENSOR_POLY_TEMP_MAX > CONFIG_SENSOR_POLY_TEMP_MIN,
	       "Temperature calibration maximum must exceed minimum");

// A single point in temperature calibration data
struct TempCalPoint {
	float temp;    // The temperature for this point
	float bias[3]; // The gyro bias (x, y, z)
};
#endif

/* Retention is checked by build timestamp and CRC, not a schema version.
 * A different firmware build normally invalidates the old layout. Layout
 * changes also move the CRC, but do not guarantee rejection on their own.
 * Invalid data resets retained-only runtime state, including watchdog data.
 * When NVS is available, startup reloads surviving persistent values. */
struct retained_data {
	/* The build version of the firmware that last updated the
	 * retained data.
	 */
	uint32_t build_timestamp;

	/* The uptime from the current session the last time the
	 * retained data was updated.
	 */
	uint64_t uptime_latest;

	/* Cumulative uptime from all previous sessions up through
	 * uptime_latest of this session.
	 */
	uint64_t uptime_sum;

	/* Battery statistics.  Tracking for discharge curve only begins
	 * after ~3% discharged.  If battery_pptt has changed significantly
	 * compared to min_battery_pptt since the last update,
	 * the statistics are cleared and may be saved to NVS.
	 */
	int16_t max_battery_pptt;
	int16_t min_battery_pptt;

	/* Battery uptime from last retained update */
	uint64_t battery_uptime_latest;

	/* Cumulative runtime */
	uint64_t battery_runtime_sum;

	/* Last interval stored in NVS */
	int16_t battery_pptt_saved;
	uint64_t battery_runtime_saved;

	/* Calibrated discharge curve */
	int16_t battery_pptt_curve[18];

	uint8_t reboot_counter;
	uint8_t paired_addr[8];

	float gyroBias[3];
	float magBAinv[4][3];
	float accBAinv[4][3];
	float gyroSensScale[3]; // Gyro sensitivity


	uint8_t fusion_id; // fusion_data_stored
#if CONFIG_SENSOR_VQF_OUTPUT_OBSERVER
	uint8_t fusion_data[904]; // VQF v2: native state+coeffs and output LP+actual yaw gauge
#else
	uint8_t fusion_data[840]; // VQF v1 or other fusion implementations
#endif

	uint16_t imu_addr;
	uint16_t mag_addr;

	uint8_t imu_reg;
	uint8_t mag_reg;

	uint8_t rf_channel; // RF channel (0-100), 0xFF means use default
	uint8_t wom_idle_wake_streak;
	bool wom_sleep_pending;

	bool mag_enabled;
	uint8_t mag_online_calibration_mode;

	// Online magnetometer calibration runtime state.
	// Persists across WoM resumes so online mag cal does not re-enter
	// early bootstrap after every wake, but is cleared on full reboot/shutdown.
	struct {
		float last_buf_avg_norm;
		uint8_t update_count;
		uint8_t reserved[3];
	} onlineMagState;

#if CONFIG_SENSOR_USE_TCAL
	bool tcal_enabled; // Temperature calibration compensation enabled
	float gyroTemp;

	#define TCAL_BUFFER_SIZE                                                                                               \
		(int)((CONFIG_SENSOR_POLY_TEMP_MAX - CONFIG_SENSOR_POLY_TEMP_MIN) * CONFIG_SENSOR_POLY_STEPS_PER_DEGREE)
		struct TempCalPoint tempCalPoints[TCAL_BUFFER_SIZE];
	float tempCalCoeffs[3][CONFIG_SENSOR_POLY_DEGREE + 1];

	struct {
		uint16_t count;
		bool valid;
		uint8_t degree;
	} tempCalState;

	// Boot calibration state (runtime only, persists in WoM but resets on full reboot)
	struct {
		bool enabled;              // Feature enabled
		bool completed;            // Completed for this boot
		uint8_t attempt_count;     // Number of attempts
		float doffset[3];          // Calculated D_offset (runtime only)
		bool doffset_valid;        // D_offset is valid
	} bootCalState;
#endif

	/* CRC used to validate the retained data.  This must be
	 * stored little-endian, and covers everything up to but not
	 * including this field.
	 */
	uint32_t crc;

	/* ==== FIELDS BELOW ARE NOT INCLUDED IN CRC CALCULATION ==== */
	/* These fields are intentionally placed after the CRC so they can
	 * be modified without invalidating the CRC. This is important for
	 * watchdog state which must persist across unexpected resets.
	 */

	// Watchdog state (persists across WDT resets, outside CRC validation)
	struct {
		uint8_t reset_count;           // WDT consecutive reset count
		uint8_t last_failed_channel;   // Last channel that failed to feed
		uint32_t last_reset_uptime;    // System uptime at last WDT reset (ms)
		uint32_t total_wdt_resets;     // Cumulative WDT reset count (for debugging)
		uint32_t magic;                // Magic number to validate watchdog state
	} watchdog_state;

	// Error self-heal reboot state (persists across error reboots, outside CRC validation)
	struct {
		uint32_t magic;   // Magic number to validate error_reboot state
		uint8_t count;    // Consecutive error-triggered reboots (loop guard)
	} error_reboot;
};

/* Magic number to validate watchdog state */
#define WATCHDOG_STATE_MAGIC 0x57445447  /* "WDTG" in ASCII */

/* Magic number to validate error_reboot state ("ERSH" = Error Self-Heal) */
#define ERROR_REBOOT_STATE_MAGIC 0x45525348

/* Up to 4 KB of retained data allowed right now.
 */
#define RETAINED_SIZE (sizeof(struct retained_data))

/* For simplicity in the sample just allow anybody to see and
 * manipulate the retained state.
 */
extern struct retained_data *const retained;

/* Check whether the retained data is valid, and if not reset it.
 *
 * @return true if and only if the data was valid and reflects state
 * from previous sessions.
 */
bool retained_validate(void);

/* Reset retained data to the same defaults used for invalid retained state.
 * The current uptime becomes the start of the new accounting interval.
 */
void retained_reset(void);

/* Update any generic retained state and recalculate its checksum so
 * subsequent boots can verify the retained state.
 */
void retained_update(void);

#endif /* RETAINED_H_ */
```
